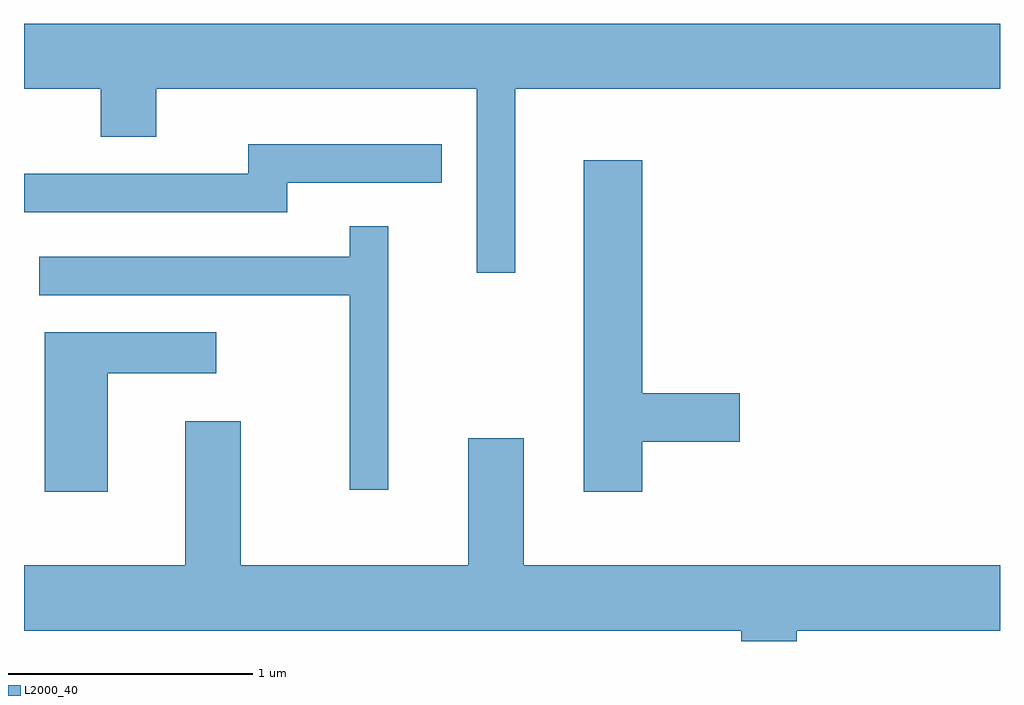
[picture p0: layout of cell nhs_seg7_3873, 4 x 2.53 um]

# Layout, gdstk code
import gdstk
lib = gdstk.Library(unit=1e-6, precision=1e-09)
def P(c, l, *ps):  # polygons
    for p in ps: c.add(gdstk.Polygon(p, *l))
L2000_40 = (2000, 40)

nhs_seg7_3873 = lib.new_cell('nhs_seg7_3873')
P(nhs_seg7_3873, L2000_40, [(305.624,1736.516),(307.611,1736.516),(307.611,1736.784),(303.611,1736.784),(303.611,1736.516),(303.926,1736.516),(303.926,1736.321),(304.154,1736.321),(304.154,1736.516),(305.466,1736.516),(305.466,1735.763),(305.624,1735.763)],
  [(304.689,1736.131),(305.323,1736.131),(305.323,1736.289),(304.531,1736.289),(304.531,1736.169),(303.611,1736.169),(303.611,1736.011),(304.689,1736.011)],
  [(306.144,1735.071),(306.544,1735.071),(306.544,1735.269),(306.144,1735.269),(306.144,1736.224),(305.906,1736.224),(305.906,1734.866),(306.144,1734.866)],
  [(305.104,1735.953),(304.946,1735.953),(304.946,1735.829),(303.673,1735.829),(303.673,1735.671),(304.946,1735.671),(304.946,1734.873),(305.104,1734.873)],
  [(303.954,1735.351),(304.398,1735.351),(304.398,1735.519),(303.696,1735.519),(303.696,1734.866),(303.954,1734.866)],
  [(305.431,1735.084),(305.431,1734.564),(304.499,1734.564),(304.499,1735.154),(304.271,1735.154),(304.271,1734.564),(303.611,1734.564),(303.611,1734.296),(306.551,1734.296),(306.551,1734.252),(306.779,1734.252),(306.779,1734.296),(307.611,1734.296),(307.611,1734.564),(305.659,1734.564),(305.659,1735.084)])

lib.write_gds('nhs_seg7_3873.gds')
